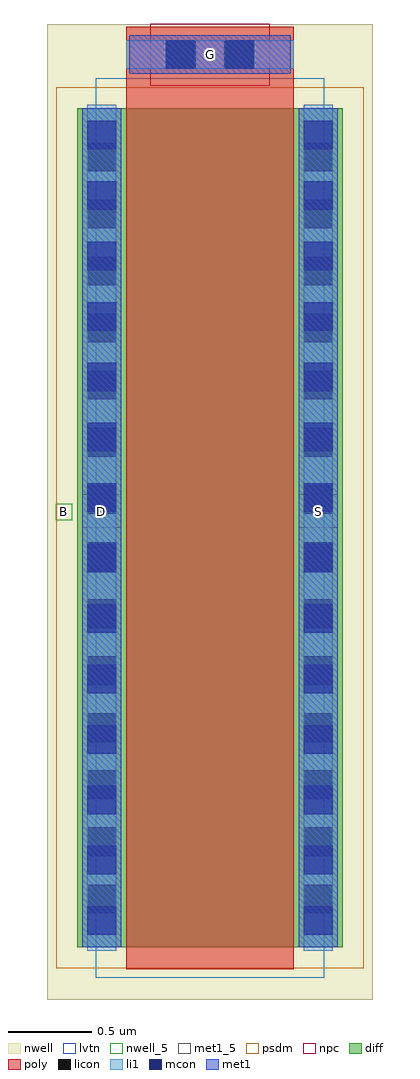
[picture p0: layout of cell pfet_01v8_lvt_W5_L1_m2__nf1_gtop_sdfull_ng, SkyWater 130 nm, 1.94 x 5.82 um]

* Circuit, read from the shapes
.subckt pfet_01v8_lvt_W5_L1_m2__nf1_gtop_sdfull_ng B D G S
XM1 S G D B sky130_fd_pr__pfet_01v8_lvt w=5 l=1
.ends

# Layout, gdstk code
import gdstk
lib = gdstk.Library(unit=1e-6, precision=1e-09)
def R(c, l, rs):  # rectangles x0, y0, x1, y1
    for r in rs: c.add(gdstk.rectangle(r[:2], r[2:], *l))
def A(c, l, x, y, w, h, nx, ny, dx, dy):  # array of equal rectangles
    R(c, l, [(x+i*dx, y+j*dy, x+i*dx+w, y+j*dy+h) for i in range(nx) for j in range(ny)])
nwell_5 = (64, 5)
nwell = (64, 20)
diff = (65, 20)
poly = (66, 20)
licon = (66, 44)
li1 = (67, 20)
mcon = (67, 44)
met1_5 = (68, 5)
met1 = (68, 20)
psdm = (94, 20)
npc = (95, 20)
lvtn = (125, 44)

sky130_fd_pr__pfet_01v8_ = lib.new_cell('sky130_fd_pr__pfet_01v8_lvt_7Q9QDH')
R(sky130_fd_pr__pfet_01v8_, nwell, [(-0.97,-2.99,0.97,2.82)])
R(sky130_fd_pr__pfet_01v8_, diff, [(-0.79,-2.68,0.79,2.32)])
R(sky130_fd_pr__pfet_01v8_, poly, [(-0.5,-2.81,0.5,2.805)])
A(sky130_fd_pr__pfet_01v8_, licon, -0.73, -2.475, 0.17, 0.17, 1, 14, 0, 0.34)
A(sky130_fd_pr__pfet_01v8_, licon, 0.56, -2.475, 0.17, 0.17, 1, 14, 0, 0.34)
R(sky130_fd_pr__pfet_01v8_, licon, [(-0.255,2.555,-0.085,2.725), (0.085,2.555,0.255,2.725)])
R(sky130_fd_pr__pfet_01v8_, li1, [(-0.73,-2.7,-0.56,2.34), (0.56,-2.7,0.73,2.34), (-0.5,2.555,0.5,2.725)])
A(sky130_fd_pr__pfet_01v8_, mcon, -0.73, -2.605, 0.17, 0.17, 1, 14, 0, 0.36)
A(sky130_fd_pr__pfet_01v8_, mcon, 0.56, -2.605, 0.17, 0.17, 1, 14, 0, 0.36)
R(sky130_fd_pr__pfet_01v8_, mcon, [(-0.265,2.555,-0.095,2.725), (0.095,2.555,0.265,2.725)])
R(sky130_fd_pr__pfet_01v8_, met1, [(-0.76,-2.68,-0.53,2.32), (0.53,-2.68,0.76,2.32), (-0.48,2.525,0.48,2.755)])
R(sky130_fd_pr__pfet_01v8_, psdm, [(-0.915,-2.805,0.915,2.445)])
R(sky130_fd_pr__pfet_01v8_, npc, [(-0.355,2.455,0.355,2.825)])
R(sky130_fd_pr__pfet_01v8_, lvtn, [(-0.68,-2.86,0.68,2.5)])
sky130_fd_pr__pfet_01v8_.add(gdstk.Label('D', (-0.645,-0.18), layer=67, texttype=5))
sky130_fd_pr__pfet_01v8_.add(gdstk.Label('S', (0.645,-0.18), layer=67, texttype=5))
sky130_fd_pr__pfet_01v8_.add(gdstk.Label('G', (0,2.64), layer=67, texttype=5))

pfet_01v8_lvt_w5_l1_m2__ = lib.new_cell('pfet_01v8_lvt_W5_L1_m2__nf1_gtop_sdfull_ng')
R(pfet_01v8_lvt_w5_l1_m2__, nwell_5, [(0.05,2.855,0.15,2.955)])
R(pfet_01v8_lvt_w5_l1_m2__, nwell, [(0.05,2.855,0.15,2.955)])
R(pfet_01v8_lvt_w5_l1_m2__, met1_5, [(0.21,2.81,0.44,3.01), (1.5,2.81,1.73,3.01), (0.49,5.515,1.45,5.745)])
R(pfet_01v8_lvt_w5_l1_m2__, met1, [(0.21,2.81,0.44,3.01), (1.5,2.81,1.73,3.01), (0.49,5.515,1.45,5.745)])
pfet_01v8_lvt_w5_l1_m2__.add(gdstk.Reference(sky130_fd_pr__pfet_01v8_, (0.97,2.99)))
pfet_01v8_lvt_w5_l1_m2__.add(gdstk.Label('D', (0.325,2.91), layer=68, texttype=5))
pfet_01v8_lvt_w5_l1_m2__.add(gdstk.Label('S', (1.615,2.91), layer=68, texttype=5))
pfet_01v8_lvt_w5_l1_m2__.add(gdstk.Label('G', (0.97,5.63), layer=68, texttype=5))
pfet_01v8_lvt_w5_l1_m2__.add(gdstk.Label('B', (0.1,2.905), layer=64, texttype=5))

lib.write_gds('pfet_01v8_lvt_W5_L1_m2__nf1_gtop_sdfull_ng.gds')
